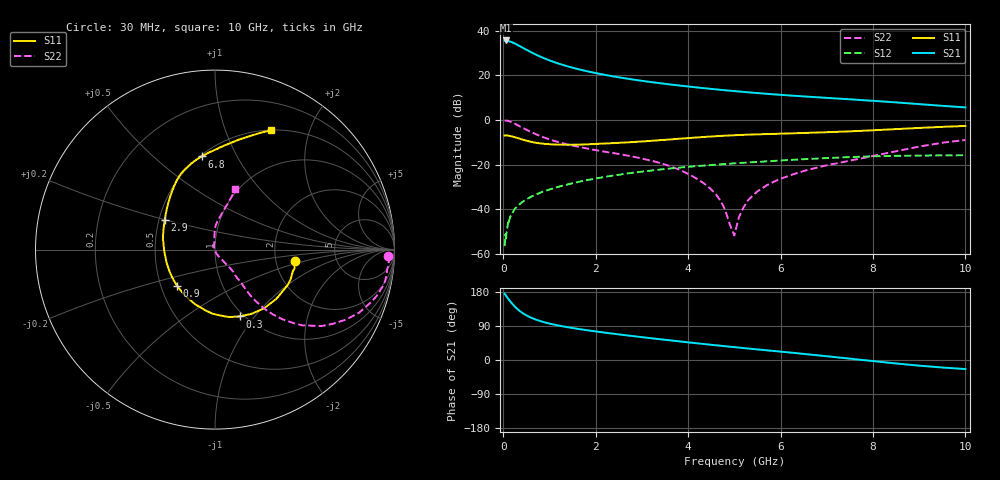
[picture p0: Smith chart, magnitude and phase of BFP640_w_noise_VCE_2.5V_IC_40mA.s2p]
! Infineon Technologies  Discrete & RF Semiconductors
! BFP640
! VCE =  2.5 V,  IC =  40 mA
! Common Emitter S-Parameters:  Apr 2013
# GHz  S  MA  R  50
!  f  S11  S21  S12  S22
! GHz  MAG  ANG  MAG  ANG  MAG  ANG  MAG  ANG
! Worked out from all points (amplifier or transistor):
!   99 points, 30 MHz to 10 GHz, reference 50 ohm
!   highest |S21| = 35.6 dB at 60 MHz (marker M1)
!   |S21| within 3 dB of that: start of sweep to 401.2 MHz
!   unconditionally stable (mu >= 1): 1.854 GHz to end of sweep
!   at 350 MHz: K = 0.44, MSG = 35.5 dB, |S12| = -37.8 dB
!   at 3.5 GHz: K = 1.06, MAG = 17.6 dB, |S12| = -21.9 dB
!   at 10 GHz: K = 1.06, MAG = 9.2 dB, |S12| = -15.8 dB
!   lowest NFmin = 1.25 dB at 450 MHz
!   S11 on the Smith chart (normalised r, x): 30 MHz: 2.56, -0.40; 300 MHz: 0.96, -0.85; 900 MHz: 0.61, -0.27; 2.9 GHz: 0.54, +0.20; 6.8 GHz: 0.51, +0.73; 10 GHz: 0.50, +1.45
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0.03  0.4496 -7.9  59.33 174.9  0.0015 83.3  0.9664 -2.1
0.06  0.4502 -15.7  60.22 169.8  0.002 62.7  0.9652 -6.5
0.08  0.4529 -21.1  59.92 166.4  0.0035 85.4  0.9654 -9.2
0.12  0.4424 -31.9  57.91 159.7  0.0047 80.2  0.9446 -14.7
0.2  0.4263 -50.4  54.26 147.7  0.0083 75.0  0.8761 -23.7
0.25  0.4115 -60.6  51.56 141.0  0.0103 74.7  0.8261 -28.2
0.3  0.3974 -69.5  48.5 135.2  0.0116 69.0  0.776 -32.2
0.35  0.384 -78.2  45.25 130.0  0.0129 70.1  0.7301 -35.7
0.45  0.3578 -92.0  39.83 121.4  0.0156 67.9  0.6447 -40.9
0.6  0.3246 -109.6  32.97 111.8  0.0191 65.3  0.5388 -46.0
0.7  0.3097 -119.5  29.25 106.9  0.0212 65.0  0.4843 -48.2
0.9  0.2918 -136.3  23.71 99.2  0.0256 63.9  0.4002 -50.8
1.2  0.2804 -155.3  18.26 90.9  0.0321 62.8  0.3184 -52.4
1.7  0.2822 -177.9  13.12 80.6  0.0427 60.4  0.2419 -51.7
2.3  0.3009 163.7  9.78 70.6  0.0554 56.2  0.1873 -51.7
2.9  0.3255 149.4  7.781 61.7  0.0677 51.5  0.1446 -50.6
3.4  0.3541 139.2  6.637 54.7  0.0779 47.2  0.1081 -52.5
5.1  0.4603 114.7  4.34 32.7  0.1086 32.1  0.0067 127.0
6.7  0.5203 99.3  3.27 13.6  0.1358 17.8  0.0816 92.0
6.8  0.5246 98.2  3.218 12.4  0.1374 16.7  0.0864 91.7
8.5  0.6252 78.0  2.475 -9.2  0.1576 -0.5  0.1998 79.7
10  0.7347 64.9  1.914 -23.9  0.1619 -12.5  0.3571 71.6
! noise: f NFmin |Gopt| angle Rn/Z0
0.45  1.25  0.25  -170  0.05
0.9  1.25  0.28  -159  0.07
1.5  1.26  0.31  -145  0.09
1.9  1.29  0.32  222  0.12
2.4  1.34  0.33  -124  0.14
3.5  1.46  0.38  -107  0.17
5.5  1.67  0.42  -91  0.26
10  2.15  0.63  -49  0.74
